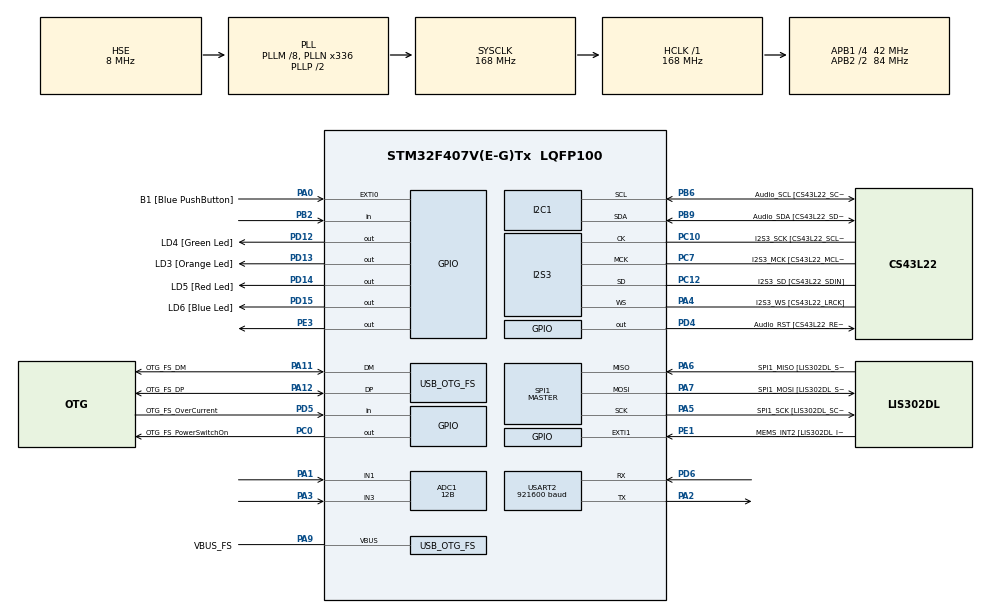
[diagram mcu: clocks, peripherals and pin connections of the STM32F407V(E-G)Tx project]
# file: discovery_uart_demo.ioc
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ADC1.Channel-0\#ChannelRegularConversion=ADC_CHANNEL_1
ADC1.Channel-2\#ChannelRegularConversion=ADC_CHANNEL_3
ADC1.ClockPrescaler=ADC_CLOCK_SYNC_PCLK_DIV4
ADC1.ContinuousConvMode=DISABLE
ADC1.DMAContinuousRequests=ENABLE
ADC1.EOCSelection=ADC_EOC_SEQ_CONV
ADC1.ExternalTrigConv=ADC_EXTERNALTRIGCONV_T2_TRGO
ADC1.InjNumberOfConversion=0
ADC1.NbrOfConversion=2
ADC1.NbrOfConversionFlag=1
ADC1.Rank-0\#ChannelRegularConversion=1
ADC1.Rank-2\#ChannelRegularConversion=2
ADC1.Resolution=ADC_RESOLUTION_12B
ADC1.SamplingTime-0\#ChannelRegularConversion=ADC_SAMPLETIME_3CYCLES
ADC1.SamplingTime-2\#ChannelRegularConversion=ADC_SAMPLETIME_3CYCLES
ADC1.ScanConvMode=ENABLE
ADC1.master=1
Dma.ADC1.0.Direction=DMA_PERIPH_TO_MEMORY
Dma.ADC1.0.FIFOMode=DMA_FIFOMODE_DISABLE
Dma.ADC1.0.Instance=DMA2_Stream0
Dma.ADC1.0.MemDataAlignment=DMA_MDATAALIGN_HALFWORD
Dma.ADC1.0.MemInc=DMA_MINC_ENABLE
Dma.ADC1.0.Mode=DMA_CIRCULAR
Dma.ADC1.0.PeriphDataAlignment=DMA_PDATAALIGN_HALFWORD
Dma.ADC1.0.PeriphInc=DMA_PINC_DISABLE
Dma.ADC1.0.Priority=DMA_PRIORITY_HIGH
Dma.Request0=ADC1
I2S3.AudioFreq-Half_Duplex_Master=I2S_AUDIOFREQ_96K
I2S3.ErrorAudioFreq=-2.34 %
I2S3.ErrorAudioFreq-Half_Duplex_Master=0.8 %
I2S3.FullDuplexMode=I2S_FULLDUPLEXMODE_DISABLE
I2S3.Instance=SPI$Index
I2S3.RealAudioFreq=93.75 KHz
I2S3.RealAudioFreq-Half_Duplex_Master=96.774 KHz
I2S3.VirtualMode=I2S_MODE_MASTER
Mcu.Family=STM32F4
Mcu.Name=STM32F407V(E-G)Tx
Mcu.Package=LQFP100
NVIC.DMA2_Stream0_IRQn=true\:0\:0\:false\:false\:true\:false\:true\:true
NVIC.OTG_FS_IRQn=true\:0\:0\:false\:false\:true\:true\:true\:true
NVIC.PriorityGroup=NVIC_PRIORITYGROUP_0
NVIC.TIM2_IRQn=true\:0\:2\:false\:false\:true\:true\:true\:true
NVIC.USART2_IRQn=true\:0\:1\:true\:false\:true\:true\:true\:true
PA0-WKUP.GPIO_Label=B1 [Blue PushButton]
PA0-WKUP.GPIO_ModeDefaultEXTI=GPIO_MODE_EVT_RISING
PA0-WKUP.GPIO_PuPd=GPIO_NOPULL
PA0-WKUP.Signal=GPXTI0
PA1.Signal=ADCx_IN1
PA10.GPIO_Label=OTG_FS_ID
PA10.GPIO_Mode=GPIO_MODE_AF_PP
PA10.GPIO_PuPd=GPIO_NOPULL
PA10.GPIO_Speed=GPIO_SPEED_FREQ_LOW
PA10.Signal=USB_OTG_FS_ID
PA11.GPIO_Label=OTG_FS_DM
PA11.GPIO_Mode=GPIO_MODE_AF_PP
PA11.GPIO_PuPd=GPIO_NOPULL
PA11.GPIO_Speed=GPIO_SPEED_FREQ_LOW
PA11.Mode=Device_Only
PA11.Signal=USB_OTG_FS_DM
PA12.GPIO_Label=OTG_FS_DP
PA12.GPIO_Mode=GPIO_MODE_AF_PP
PA12.GPIO_PuPd=GPIO_NOPULL
PA12.GPIO_Speed=GPIO_SPEED_FREQ_LOW
PA12.Mode=Device_Only
PA12.Signal=USB_OTG_FS_DP
PA13.GPIO_Label=SWDIO
PA13.Mode=Serial_Wire
PA13.Signal=SYS_JTMS-SWDIO
PA14.GPIO_Label=SWCLK
PA14.Mode=Serial_Wire
PA14.Signal=SYS_JTCK-SWCLK
PA2.Mode=Asynchronous
PA2.Signal=USART2_TX
PA3.Signal=ADCx_IN3
PA4.GPIO_Label=I2S3_WS [CS43L22_LRCK]
PA4.GPIO_Mode=GPIO_MODE_AF_PP
PA4.GPIO_PuPd=GPIO_NOPULL
PA4.GPIO_Speed=GPIO_SPEED_FREQ_LOW
PA4.Mode=Half_Duplex_Master
PA4.Signal=I2S3_WS
PA5.GPIO_Label=SPI1_SCK [LIS302DL_SCL/SPC]
PA5.GPIO_Mode=GPIO_MODE_AF_PP
PA5.GPIO_PuPd=GPIO_NOPULL
PA5.GPIO_Speed=GPIO_SPEED_FREQ_LOW
PA5.Mode=Full_Duplex_Master
PA5.Signal=SPI1_SCK
PA6.GPIO_Label=SPI1_MISO [LIS302DL_SDO]
PA6.GPIO_Mode=GPIO_MODE_AF_PP
PA6.GPIO_PuPd=GPIO_NOPULL
PA6.GPIO_Speed=GPIO_SPEED_FREQ_LOW
PA6.Mode=Full_Duplex_Master
PA6.Signal=SPI1_MISO
PA7.GPIO_Label=SPI1_MOSI [LIS302DL_SDA/SDI/SDO]
PA7.GPIO_Mode=GPIO_MODE_AF_PP
PA7.GPIO_PuPd=GPIO_NOPULL
PA7.GPIO_Speed=GPIO_SPEED_FREQ_LOW
PA7.Mode=Full_Duplex_Master
PA7.Signal=SPI1_MOSI
PA9.GPIO_Label=VBUS_FS
PA9.GPIO_Mode=GPIO_MODE_INPUT
PA9.GPIO_PuPd=GPIO_NOPULL
PA9.Mode=Activate_VBUS
PA9.Signal=USB_OTG_FS_VBUS
PB10.GPIO_Label=CLK_IN [MP45DT02_CLK]
PB10.GPIO_Mode=GPIO_MODE_AF_PP
PB10.GPIO_PuPd=GPIO_NOPULL
PB10.GPIO_Speed=GPIO_SPEED_FREQ_LOW
PB10.Signal=I2S2_CK
PB2.Signal=GPIO_Input
PB3.GPIO_Label=SWO
PB3.Signal=SYS_JTDO-SWO
PB6.GPIO_Label=Audio_SCL [CS43L22_SCL]
PB6.GPIO_Mode=GPIO_MODE_AF_OD
PB6.GPIO_Pu=GPIO_PULLUP
PB6.GPIO_PuPd=GPIO_NOPULL
PB6.GPIO_Speed=GPIO_SPEED_FREQ_LOW
PB6.Mode=I2C
PB6.Signal=I2C1_SCL
PB9.GPIO_Label=Audio_SDA [CS43L22_SDA]
PB9.GPIO_Mode=GPIO_MODE_AF_OD
PB9.GPIO_Pu=GPIO_PULLUP
PB9.GPIO_PuPd=GPIO_NOPULL
PB9.GPIO_Speed=GPIO_SPEED_FREQ_LOW
PB9.Mode=I2C
PB9.Signal=I2C1_SDA
PC0.GPIO_Label=OTG_FS_PowerSwitchOn
PC0.GPIO_PuPd=GPIO_NOPULL
PC0.GPIO_Speed=GPIO_SPEED_FREQ_LOW
PC0.PinState=GPIO_PIN_SET
PC0.Signal=GPIO_Output
PC10.GPIO_Label=I2S3_SCK [CS43L22_SCLK]
PC10.GPIO_Mode=GPIO_MODE_AF_PP
PC10.GPIO_PuPd=GPIO_NOPULL
PC10.GPIO_Speed=GPIO_SPEED_FREQ_LOW
PC10.Mode=Half_Duplex_Master
PC10.Signal=I2S3_CK
PC12.GPIO_Label=I2S3_SD [CS43L22_SDIN]
PC12.GPIO_Mode=GPIO_MODE_AF_PP
PC12.GPIO_PuPd=GPIO_NOPULL
PC12.GPIO_Speed=GPIO_SPEED_FREQ_LOW
PC12.Mode=Half_Duplex_Master
PC12.Signal=I2S3_SD
PC14-OSC32_IN.GPIO_Label=PC14-OSC32_IN
PC14-OSC32_IN.Mode=LSE-External-Oscillator
PC14-OSC32_IN.Signal=RCC_OSC32_IN
PC15-OSC32_OUT.GPIO_Label=PC15-OSC32_OUT
PC15-OSC32_OUT.Mode=LSE-External-Oscillator
PC15-OSC32_OUT.Signal=RCC_OSC32_OUT
PC3.GPIO_Label=PDM_OUT [MP45DT02_DOUT]
PC3.GPIO_Mode=GPIO_MODE_AF_PP
PC3.GPIO_PuPd=GPIO_NOPULL
PC3.GPIO_Speed=GPIO_SPEED_FREQ_LOW
PC3.Signal=I2S2_SD
PC7.GPIO_Label=I2S3_MCK [CS43L22_MCLK]
PC7.GPIO_Mode=GPIO_MODE_AF_PP
PC7.GPIO_PuPd=GPIO_NOPULL
PC7.GPIO_Speed=GPIO_SPEED_FREQ_LOW
PC7.Mode=Master_Clock_Activated
PC7.Signal=I2S3_MCK
PD12.GPIO_Label=LD4 [Green Led]
PD12.GPIO_PuPd=GPIO_NOPULL
PD12.GPIO_Speed=GPIO_SPEED_FREQ_LOW
PD12.Signal=GPIO_Output
PD13.GPIO_Label=LD3 [Orange Led]
PD13.GPIO_PuPd=GPIO_NOPULL
PD13.GPIO_Speed=GPIO_SPEED_FREQ_LOW
PD13.Signal=GPIO_Output
PD14.GPIO_Label=LD5 [Red Led]
PD14.GPIO_PuPd=GPIO_NOPULL
PD14.GPIO_Speed=GPIO_SPEED_FREQ_LOW
PD14.Signal=GPIO_Output
PD15.GPIO_Label=LD6 [Blue Led]
PD15.GPIO_PuPd=GPIO_NOPULL
PD15.GPIO_Speed=GPIO_SPEED_FREQ_LOW
PD15.Signal=GPIO_Output
PD4.GPIO_Label=Audio_RST [CS43L22_RESET]
PD4.GPIO_PuPd=GPIO_NOPULL
PD4.GPIO_Speed=GPIO_SPEED_FREQ_LOW
PD4.Signal=GPIO_Output
PD5.GPIO_Label=OTG_FS_OverCurrent
PD5.GPIO_Mode=GPIO_MODE_INPUT
PD5.GPIO_PuPd=GPIO_NOPULL
PD5.Signal=GPIO_Input
PD6.Mode=Asynchronous
PD6.Signal=USART2_RX
PE1.GPIO_Label=MEMS_INT2 [LIS302DL_INT2]
PE1.GPIO_ModeDefaultEXTI=GPIO_MODE_EVT_RISING
PE1.GPIO_PuPd=GPIO_NOPULL
PE1.Signal=GPXTI1
PE3.Signal=GPIO_Output
PH0-OSC_IN.GPIO_Label=PH0-OSC_IN
PH0-OSC_IN.Mode=HSE-External-Oscillator
PH0-OSC_IN.Signal=RCC_OSC_IN
PH1-OSC_OUT.GPIO_Label=PH1-OSC_OUT
PH1-OSC_OUT.Mode=HSE-External-Oscillator
PH1-OSC_OUT.Signal=RCC_OSC_OUT
ProjectManager.HeapSize=0x200
ProjectManager.StackSize=0x400
ProjectManager.TargetToolchain=MDK-ARM V5.32
RCC.48MHZClocksFreq_Value=48000000
RCC.AHBFreq_Value=168000000
RCC.APB1CLKDivider=RCC_HCLK_DIV4
RCC.APB1Freq_Value=42000000
RCC.APB1TimFreq_Value=84000000
RCC.APB2CLKDivider=RCC_HCLK_DIV2
RCC.APB2Freq_Value=84000000
RCC.APB2TimFreq_Value=168000000
RCC.CortexFreq_Value=168000000
RCC.HCLKFreq_Value=168000000
RCC.HSE_VALUE=8000000
RCC.HSI_VALUE=16000000
RCC.PLLM=8
RCC.PLLN=336
RCC.PLLQ=7
RCC.SYSCLKFreq_VALUE=168000000
RCC.SYSCLKSource=RCC_SYSCLKSOURCE_PLLCLK
RCC.VCOOutputFreq_Value=336000000
SH.ADCx_IN1.0=ADC1_IN1,IN1
SH.ADCx_IN3.0=ADC1_IN3,IN3
SPI1.BaudRatePrescaler-Full_Duplex_Master=SPI_BAUDRATEPRESCALER_2
SPI1.CalculateBaudRate-Full_Duplex_Master=42.0 MBits/s
SPI1.Direction=SPI_DIRECTION_2LINES
SPI1.Mode=SPI_MODE_MASTER
SPI1.Mode-Full_Duplex_Master=SPI_MODE_MASTER
SPI1.VirtualType=VM_MASTER
TIM2.Period=1343
TIM2.TIM_MasterOutputTrigger=TIM_TRGO_UPDATE
USART2.BaudRate=921600
USART2.VirtualMode=VM_ASYNC
USB_DEVICE.CLASS_NAME_FS=CDC
USB_DEVICE.VirtualMode-CDC_FS=Cdc
USB_DEVICE.VirtualModeFS=Cdc_FS
USB_OTG_FS.VirtualMode=Device_Only
VP_TIM2_VS_ClockSourceINT.Mode=Internal
VP_USB_DEVICE_VS_USB_DEVICE_CDC_FS.Mode=CDC_FS
board=STM32F407G-DISC1

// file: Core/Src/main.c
/* USER CODE BEGIN Header */
/**
  ******************************************************************************
  * @file           : main.c
  * @brief          : Main program body
  ******************************************************************************
  * @attention
  *
  * Copyright (c) 2025 STMicroelectronics.
  * All rights reserved.
  *
  * This software is licensed under terms that can be found in the LICENSE file
  * in the root directory of this software component.
  * If no LICENSE file comes with this software, it is provided AS-IS.
  *
  ******************************************************************************
  */
/* USER CODE END Header */
#include "main.h"
#include "usb_device.h"

/* USER CODE BEGIN Includes */
#include "usbd_cdc_if.h"
/* USER CODE END Includes */

/* USER CODE BEGIN PD */
#define ADC_BUF_LEN 4096
/* USER CODE END PD */

ADC_HandleTypeDef hadc1;
DMA_HandleTypeDef hdma_adc1;

I2C_HandleTypeDef hi2c1;

I2S_HandleTypeDef hi2s3;

SPI_HandleTypeDef hspi1;

TIM_HandleTypeDef htim2;

UART_HandleTypeDef huart2;

/* USER CODE BEGIN PV */
uint16_t adc_buf[ADC_BUF_LEN];
volatile uint8_t full_ready = 0;
volatile uint8_t half_ready = 0;

extern USBD_HandleTypeDef hUsbDeviceFS;

extern volatile uint8_t CDC_Ready;
/* USER CODE END PV */

void SystemClock_Config(void);
static void MX_GPIO_Init(void);
static void MX_DMA_Init(void);
static void MX_I2C1_Init(void);
static void MX_I2S3_Init(void);
static void MX_SPI1_Init(void);
static void MX_USART2_UART_Init(void);
static void MX_ADC1_Init(void);
static void MX_TIM2_Init(void);
/* USER CODE BEGIN PFP */
void HAL_ADC_ConvHalfCpltCallback(ADC_HandleTypeDef *hadc)
{
//	CDC_Transmit_FS(adc_buf, ADC_BUF_LEN/2);
	half_ready = 1;
	HAL_TIM_Base_Stop(&htim2);   // pause sampling while we ship the snapshot
}

void HAL_ADC_ConvCpltCallback(ADC_HandleTypeDef *hadc)
{
//	CDC_Transmit_FS(adc_buf, ADC_BUF_LEN * 2);
	full_ready = 1;
	HAL_TIM_Base_Stop(&htim2);   // pause sampling while we ship the snapshot
}

/* USER CODE END PFP */

/* USER CODE BEGIN 0 */
static void ADC1_BareMetal_Init(uint16_t *buffer, uint32_t length)
{
	/* Enable clocks for GPIOA (analog pins), DMA2 and ADC1 */
	RCC->AHB1ENR |= RCC_AHB1ENR_GPIOAEN | RCC_AHB1ENR_DMA2EN;
	RCC->APB2ENR |= RCC_APB2ENR_ADC1EN;

	/* Configure PA1/PA3 as analog inputs with no pulls */
	GPIOA->MODER &= ~(GPIO_MODER_MODER1 | GPIO_MODER_MODER3);
	GPIOA->MODER |= GPIO_MODER_MODER1 | GPIO_MODER_MODER3;
	GPIOA->PUPDR &= ~(GPIO_PUPDR_PUPDR1 | GPIO_PUPDR_PUPDR3);

	/* ADC common prescaler: PCLK2/4 (matches HAL config) */
	ADC->CCR = (ADC->CCR & ~ADC_CCR_ADCPRE) | ADC_CCR_ADCPRE_0;

	/* Regular sequence: two channels, scan mode, triggered by TIM2 TRGO on rising edge */
	ADC1->CR1 = ADC_CR1_SCAN;
	ADC1->CR2 = ADC_CR2_DMA | ADC_CR2_DDS | ADC_CR2_EXTEN_0 | (ADC_CR2_EXTSEL_2 | ADC_CR2_EXTSEL_1);
	ADC1->CR2 &= ~ADC_CR2_CONT;

	/* 3-cycle sampling on channels 1 and 3 */
	ADC1->SMPR2 &= ~((7U << (1U * 3U)) | (7U << (3U * 3U)));

	/* Sequence length = 2 conversions, rank1: ch1, rank2: ch3 */
	ADC1->SQR1 = ((2U - 1U) << 20);
	ADC1->SQR3 = (1U << 0) | (3U << 5);

	/* Power up ADC */
	ADC1->CR2 |= ADC_CR2_ADON;

	/* Pre-configure DMA stream (disabled) */
	DMA2_Stream0->CR &= ~DMA_SxCR_EN;
	while (DMA2_Stream0->CR & DMA_SxCR_EN)
	{
	}
	DMA2->LIFCR = DMA_LIFCR_CTCIF0 | DMA_LIFCR_CHTIF0 | DMA_LIFCR_CTEIF0 |
				  DMA_LIFCR_CDMEIF0 | DMA_LIFCR_CFEIF0;
	DMA2_Stream0->PAR = (uint32_t)&ADC1->DR;
	DMA2_Stream0->M0AR = (uint32_t)buffer;
	DMA2_Stream0->NDTR = length;
	DMA2_Stream0->CR = DMA_SxCR_MINC | DMA_SxCR_CIRC | DMA_SxCR_PL_1 |
					   DMA_SxCR_MSIZE_0 | DMA_SxCR_PSIZE_0 |
					   DMA_SxCR_TCIE | DMA_SxCR_HTIE;
	DMA2_Stream0->FCR = 0;
}

static void ADC1_BareMetal_Start(uint16_t *buffer, uint32_t length)
{
	DMA2_Stream0->CR &= ~DMA_SxCR_EN;
	while (DMA2_Stream0->CR & DMA_SxCR_EN)
	{
	}
	DMA2->LIFCR = DMA_LIFCR_CTCIF0 | DMA_LIFCR_CHTIF0 | DMA_LIFCR_CTEIF0 |
				  DMA_LIFCR_CDMEIF0 | DMA_LIFCR_CFEIF0;
	DMA2_Stream0->M0AR = (uint32_t)buffer;
	DMA2_Stream0->NDTR = length;
	DMA2_Stream0->CR |= DMA_SxCR_EN;
}

static void resume_sampling(void)
{
	/* Clear any stale flags before we start filling again */
	half_ready = 0;
	full_ready = 0;

	HAL_TIM_Base_Start(&htim2);
}

static void transmit_snapshot(uint16_t *buf, uint16_t sample_count)
{
	uint16_t byte_count = sample_count * sizeof(uint16_t);

	/* Block until USB CDC can accept the packet, keeping the ADC stopped */
	while (CDC_Transmit_FS((uint8_t *)buf, byte_count) == USBD_BUSY)
	{
		HAL_Delay(1);
	}
}

/* USER CODE END 0 */

int main(void)
{

  /* MCU Configuration--------------------------------------------------------*/

  /* Reset of all peripherals, Initializes the Flash interface and the Systick. */
  HAL_Init();

  /* Configure the system clock */
  SystemClock_Config();

  /* Initialize all configured peripherals */
  MX_GPIO_Init();
  MX_DMA_Init();
  MX_I2C1_Init();
  MX_I2S3_Init();
  MX_SPI1_Init();
  MX_USART2_UART_Init();
  MX_ADC1_Init();
  MX_USB_DEVICE_Init();
  MX_TIM2_Init();
  /* USER CODE BEGIN 2 */
//  uint8_t msg[] = "Hello World!\r\n";

	ADC1_BareMetal_Start(adc_buf, ADC_BUF_LEN);
	HAL_TIM_Base_Start(&htim2);
  /* USER CODE END 2 */

  /* Infinite loop */
  while (1)
  {

    /* USER CODE BEGIN 3 */
//    if(HAL_UART_Transmit(&huart2, msg, sizeof(msg) - 1, HAL_MAX_DELAY) == HAL_OK)
//    {
//    	HAL_Delay(1000);
//    	 HAL_GPIO_TogglePin(GPIOD, GPIO_PIN_12);

	  if (half_ready)
	      {
	          half_ready = 0;

	          transmit_snapshot(adc_buf, ADC_BUF_LEN / 2);
	          resume_sampling();
	      }
	  if (full_ready)
	      {
	          full_ready = 0;

	          transmit_snapshot(&adc_buf[ADC_BUF_LEN/2], ADC_BUF_LEN / 2);
	          resume_sampling();
	      }

  }
  /* USER CODE END 3 */
}

void SystemClock_Config(void)
{
  RCC_OscInitTypeDef RCC_OscInitStruct = {0};
  RCC_ClkInitTypeDef RCC_ClkInitStruct = {0};

  /** Configure the main internal regulator output voltage
  */
  __HAL_RCC_PWR_CLK_ENABLE();
  __HAL_PWR_VOLTAGESCALING_CONFIG(PWR_REGULATOR_VOLTAGE_SCALE1);

  /** Initializes the RCC Oscillators according to the specified parameters
  * in the RCC_OscInitTypeDef structure.
  */
  RCC_OscInitStruct.OscillatorType = RCC_OSCILLATORTYPE_HSE;
  RCC_OscInitStruct.HSEState = RCC_HSE_ON;
  RCC_OscInitStruct.PLL.PLLState = RCC_PLL_ON;
  RCC_OscInitStruct.PLL.PLLSource = RCC_PLLSOURCE_HSE;
  RCC_OscInitStruct.PLL.PLLM = 8;
  RCC_OscInitStruct.PLL.PLLN = 336;
  RCC_OscInitStruct.PLL.PLLP = RCC_PLLP_DIV2;
  RCC_OscInitStruct.PLL.PLLQ = 7;
  if (HAL_RCC_OscConfig(&RCC_OscInitStruct) != HAL_OK)
  {
    Error_Handler();
  }

  /** Initializes the CPU, AHB and APB buses clocks
  */
  RCC_ClkInitStruct.ClockType = RCC_CLOCKTYPE_HCLK|RCC_CLOCKTYPE_SYSCLK
                              |RCC_CLOCKTYPE_PCLK1|RCC_CLOCKTYPE_PCLK2;
  RCC_ClkInitStruct.SYSCLKSource = RCC_SYSCLKSOURCE_PLLCLK;
  RCC_ClkInitStruct.AHBCLKDivider = RCC_SYSCLK_DIV1;
  RCC_ClkInitStruct.APB1CLKDivider = RCC_HCLK_DIV4;
  RCC_ClkInitStruct.APB2CLKDivider = RCC_HCLK_DIV2;

  if (HAL_RCC_ClockConfig(&RCC_ClkInitStruct, FLASH_LATENCY_5) != HAL_OK)
  {
    Error_Handler();
  }
}

static void MX_ADC1_Init(void)
{

  /* USER CODE BEGIN ADC1_Init 0 */
  ADC1_BareMetal_Init(adc_buf, ADC_BUF_LEN);
  /* USER CODE END ADC1_Init 0 */

}

static void MX_I2C1_Init(void)
{

  hi2c1.Instance = I2C1;
  hi2c1.Init.ClockSpeed = 100000;
  hi2c1.Init.DutyCycle = I2C_DUTYCYCLE_2;
  hi2c1.Init.OwnAddress1 = 0;
  hi2c1.Init.AddressingMode = I2C_ADDRESSINGMODE_7BIT;
  hi2c1.Init.DualAddressMode = I2C_DUALADDRESS_DISABLE;
  hi2c1.Init.OwnAddress2 = 0;
  hi2c1.Init.GeneralCallMode = I2C_GENERALCALL_DISABLE;
  hi2c1.Init.NoStretchMode = I2C_NOSTRETCH_DISABLE;
  if (HAL_I2C_Init(&hi2c1) != HAL_OK)
  {
    Error_Handler();
  }

}

static void MX_I2S3_Init(void)
{

  hi2s3.Instance = SPI3;
  hi2s3.Init.Mode = I2S_MODE_MASTER_TX;
  hi2s3.Init.Standard = I2S_STANDARD_PHILIPS;
  hi2s3.Init.DataFormat = I2S_DATAFORMAT_16B;
  hi2s3.Init.MCLKOutput = I2S_MCLKOUTPUT_ENABLE;
  hi2s3.Init.AudioFreq = I2S_AUDIOFREQ_96K;
  hi2s3.Init.CPOL = I2S_CPOL_LOW;
  hi2s3.Init.ClockSource = I2S_CLOCK_PLL;
  hi2s3.Init.FullDuplexMode = I2S_FULLDUPLEXMODE_DISABLE;
  if (HAL_I2S_Init(&hi2s3) != HAL_OK)
  {
    Error_Handler();
  }

}

static void MX_SPI1_Init(void)
{

  /* SPI1 parameter configuration*/
  hspi1.Instance = SPI1;
  hspi1.Init.Mode = SPI_MODE_MASTER;
  hspi1.Init.Direction = SPI_DIRECTION_2LINES;
  hspi1.Init.DataSize = SPI_DATASIZE_8BIT;
  hspi1.Init.CLKPolarity = SPI_POLARITY_LOW;
  hspi1.Init.CLKPhase = SPI_PHASE_1EDGE;
  hspi1.Init.NSS = SPI_NSS_SOFT;
  hspi1.Init.BaudRatePrescaler = SPI_BAUDRATEPRESCALER_2;
  hspi1.Init.FirstBit = SPI_FIRSTBIT_MSB;
  hspi1.Init.TIMode = SPI_TIMODE_DISABLE;
  hspi1.Init.CRCCalculation = SPI_CRCCALCULATION_DISABLE;
  hspi1.Init.CRCPolynomial = 10;
  if (HAL_SPI_Init(&hspi1) != HAL_OK)
  {
    Error_Handler();
  }

}

static void MX_TIM2_Init(void)
{

  TIM_ClockConfigTypeDef sClockSourceConfig = {0};
  TIM_MasterConfigTypeDef sMasterConfig = {0};

  htim2.Instance = TIM2;
  htim2.Init.Prescaler = 0;
  htim2.Init.CounterMode = TIM_COUNTERMODE_UP;
  htim2.Init.Period = 1679;
  htim2.Init.ClockDivision = TIM_CLOCKDIVISION_DIV1;
  htim2.Init.AutoReloadPreload = TIM_AUTORELOAD_PRELOAD_DISABLE;
  if (HAL_TIM_Base_Init(&htim2) != HAL_OK)
  {
    Error_Handler();
  }
  sClockSourceConfig.ClockSource = TIM_CLOCKSOURCE_INTERNAL;
  if (HAL_TIM_ConfigClockSource(&htim2, &sClockSourceConfig) != HAL_OK)
  {
    Error_Handler();
  }
  sMasterConfig.MasterOutputTrigger = TIM_TRGO_UPDATE;
  sMasterConfig.MasterSlaveMode = TIM_MASTERSLAVEMODE_DISABLE;
  if (HAL_TIMEx_MasterConfigSynchronization(&htim2, &sMasterConfig) != HAL_OK)
  {
    Error_Handler();
  }

}

static void MX_USART2_UART_Init(void)
{

  huart2.Instance = USART2;
  huart2.Init.BaudRate = 921600;
  huart2.Init.WordLength = UART_WORDLENGTH_8B;
  huart2.Init.StopBits = UART_STOPBITS_1;
  huart2.Init.Parity = UART_PARITY_NONE;
  huart2.Init.Mode = UART_MODE_TX_RX;
  huart2.Init.HwFlowCtl = UART_HWCONTROL_NONE;
  huart2.Init.OverSampling = UART_OVERSAMPLING_16;
  if (HAL_UART_Init(&huart2) != HAL_OK)
  {
    Error_Handler();
  }

}

static void MX_DMA_Init(void)
{

  /* DMA controller clock enable */
  __HAL_RCC_DMA2_CLK_ENABLE();

  /* DMA interrupt init */
  /* DMA2_Stream0_IRQn interrupt configuration */
  HAL_NVIC_SetPriority(DMA2_Stream0_IRQn, 0, 0);
  HAL_NVIC_EnableIRQ(DMA2_Stream0_IRQn);

}

static void MX_GPIO_Init(void)
{
  GPIO_InitTypeDef GPIO_InitStruct = {0};

  /* GPIO Ports Clock Enable */
  __HAL_RCC_GPIOE_CLK_ENABLE();
  __HAL_RCC_GPIOC_CLK_ENABLE();
  __HAL_RCC_GPIOH_CLK_ENABLE();
  __HAL_RCC_GPIOA_CLK_ENABLE();
  __HAL_RCC_GPIOB_CLK_ENABLE();
  __HAL_RCC_GPIOD_CLK_ENABLE();

  /*Configure GPIO pin Output Level */
  HAL_GPIO_WritePin(GPIOE, GPIO_PIN_3, GPIO_PIN_RESET);

  /*Configure GPIO pin Output Level */
  HAL_GPIO_WritePin(OTG_FS_PowerSwitchOn_GPIO_Port, OTG_FS_PowerSwitchOn_Pin, GPIO_PIN_SET);

  /*Configure GPIO pin Output Level */
  HAL_GPIO_WritePin(GPIOD, LD4_Pin|LD3_Pin|LD5_Pin|LD6_Pin
                          |Audio_RST_Pin, GPIO_PIN_RESET);

  /*Configure GPIO pin : PE3 */
  GPIO_InitStruct.Pin = GPIO_PIN_3;
  GPIO_InitStruct.Mode = GPIO_MODE_OUTPUT_PP;
  GPIO_InitStruct.Pull = GPIO_NOPULL;
  GPIO_InitStruct.Speed = GPIO_SPEED_FREQ_LOW;
  HAL_GPIO_Init(GPIOE, &GPIO_InitStruct);

  /*Configure GPIO pin : OTG_FS_PowerSwitchOn_Pin */
  GPIO_InitStruct.Pin = OTG_FS_PowerSwitchOn_Pin;
  GPIO_InitStruct.Mode = GPIO_MODE_OUTPUT_PP;
  GPIO_InitStruct.Pull = GPIO_NOPULL;
  GPIO_InitStruct.Speed = GPIO_SPEED_FREQ_LOW;
  HAL_GPIO_Init(OTG_FS_PowerSwitchOn_GPIO_Port, &GPIO_InitStruct);

  /*Configure GPIO pin : PDM_OUT_Pin */
  GPIO_InitStruct.Pin = PDM_OUT_Pin;
  GPIO_InitStruct.Mode = GPIO_MODE_AF_PP;
  GPIO_InitStruct.Pull = GPIO_NOPULL;
  GPIO_InitStruct.Speed = GPIO_SPEED_FREQ_LOW;
  GPIO_InitStruct.Alternate = GPIO_AF5_SPI2;
  HAL_GPIO_Init(PDM_OUT_GPIO_Port, &GPIO_InitStruct);

  /*Configure GPIO pin : B1_Pin */
  GPIO_InitStruct.Pin = B1_Pin;
  GPIO_InitStruct.Mode = GPIO_MODE_EVT_RISING;
  GPIO_InitStruct.Pull = GPIO_NOPULL;
  HAL_GPIO_Init(B1_GPIO_Port, &GPIO_InitStruct);

  /*Configure GPIO pin : PB2 */
  GPIO_InitStruct.Pin = GPIO_PIN_2;
  GPIO_InitStruct.Mode = GPIO_MODE_INPUT;
  GPIO_InitStruct.Pull = GPIO_NOPULL;
  HAL_GPIO_Init(GPIOB, &GPIO_InitStruct);

  /*Configure GPIO pin : CLK_IN_Pin */
  GPIO_InitStruct.Pin = CLK_IN_Pin;
  GPIO_InitStruct.Mode = GPIO_MODE_AF_PP;
  GPIO_InitStruct.Pull = GPIO_NOPULL;
  GPIO_InitStruct.Speed = GPIO_SPEED_FREQ_LOW;
  GPIO_InitStruct.Alternate = GPIO_AF5_SPI2;
  HAL_GPIO_Init(CLK_IN_GPIO_Port, &GPIO_InitStruct);

  /*Configure GPIO pins : LD4_Pin LD3_Pin LD5_Pin LD6_Pin
                           Audio_RST_Pin */
  GPIO_InitStruct.Pin = LD4_Pin|LD3_Pin|LD5_Pin|LD6_Pin
                          |Audio_RST_Pin;
  GPIO_InitStruct.Mode = GPIO_MODE_OUTPUT_PP;
  GPIO_InitStruct.Pull = GPIO_NOPULL;
  GPIO_InitStruct.Speed = GPIO_SPEED_FREQ_LOW;
  HAL_GPIO_Init(GPIOD, &GPIO_InitStruct);

  /*Configure GPIO pin : OTG_FS_OverCurrent_Pin */
  GPIO_InitStruct.Pin = OTG_FS_OverCurrent_Pin;
  GPIO_InitStruct.Mode = GPIO_MODE_INPUT;
  GPIO_InitStruct.Pull = GPIO_NOPULL;
  HAL_GPIO_Init(OTG_FS_OverCurrent_GPIO_Port, &GPIO_InitStruct);

  /*Configure GPIO pin : MEMS_INT2_Pin */
  GPIO_InitStruct.Pin = MEMS_INT2_Pin;
  GPIO_InitStruct.Mode = GPIO_MODE_EVT_RISING;
  GPIO_InitStruct.Pull = GPIO_NOPULL;
  HAL_GPIO_Init(MEMS_INT2_GPIO_Port, &GPIO_InitStruct);

}

void Error_Handler(void)
{
  __disable_irq();
  while (1)
  {
  }
}
